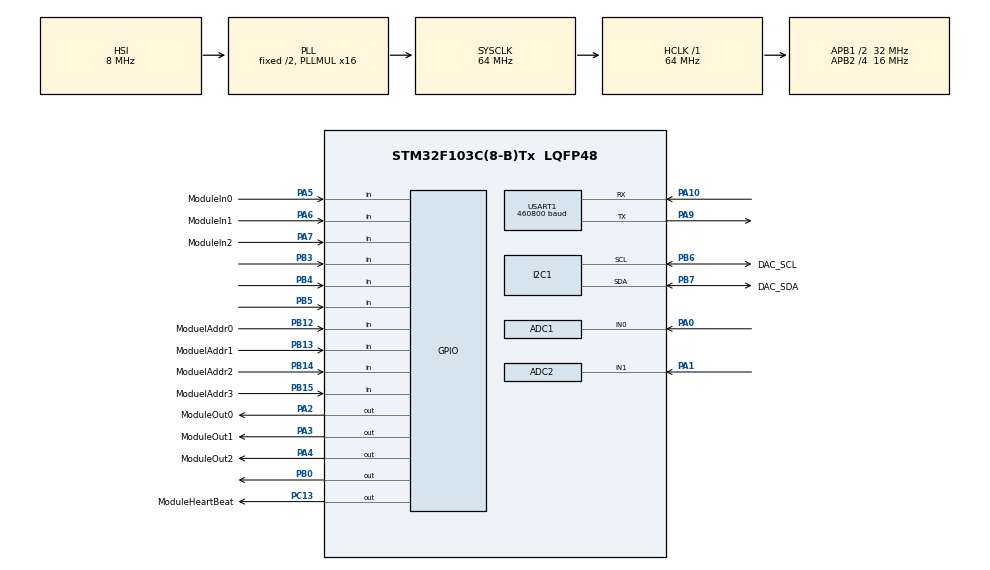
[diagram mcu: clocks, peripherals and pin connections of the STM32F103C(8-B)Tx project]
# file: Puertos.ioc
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ADC1.Channel-0\#ChannelRegularConversion=ADC_CHANNEL_0
ADC1.NbrOfConversionFlag=1
ADC1.Rank-0\#ChannelRegularConversion=1
ADC1.SamplingTime-0\#ChannelRegularConversion=ADC_SAMPLETIME_1CYCLE_5
ADC1.master=1
ADC2.Channel-1\#ChannelRegularConversion=ADC_CHANNEL_1
ADC2.NbrOfConversionFlag=1
ADC2.Rank-1\#ChannelRegularConversion=1
ADC2.SamplingTime-1\#ChannelRegularConversion=ADC_SAMPLETIME_1CYCLE_5
Mcu.Family=STM32F1
Mcu.Name=STM32F103C(8-B)Tx
Mcu.Package=LQFP48
NVIC.I2C1_EV_IRQn=true\:2\:0\:true\:false\:true\:true\:true
NVIC.PriorityGroup=NVIC_PRIORITYGROUP_4
NVIC.TIM3_IRQn=true\:1\:0\:true\:false\:true\:true\:true
NVIC.USART1_IRQn=true\:0\:0\:false\:false\:true\:true\:true
PA0-WKUP.Signal=ADCx_IN0
PA1.Signal=ADCx_IN1
PA10.Mode=Asynchronous
PA10.Signal=USART1_RX
PA13.Mode=Serial_Wire
PA13.Signal=SYS_JTMS-SWDIO
PA14.Mode=Serial_Wire
PA14.Signal=SYS_JTCK-SWCLK
PA2.GPIO_Label=ModuleOut0
PA2.Signal=GPIO_Output
PA3.GPIO_Label=ModuleOut1
PA3.Signal=GPIO_Output
PA4.GPIO_Label=ModuleOut2
PA4.Signal=GPIO_Output
PA5.GPIO_Label=ModuleIn0
PA5.Signal=GPIO_Input
PA6.GPIO_Label=ModuleIn1
PA6.Signal=GPIO_Input
PA7.GPIO_Label=ModuleIn2
PA7.Signal=GPIO_Input
PA9.Mode=Asynchronous
PA9.Signal=USART1_TX
PB0.Signal=GPIO_Output
PB12.GPIO_Label=ModuelAddr0
PB12.Signal=GPIO_Input
PB13.GPIO_Label=ModuelAddr1
PB13.Signal=GPIO_Input
PB14.GPIO_Label=ModuelAddr2
PB14.Signal=GPIO_Input
PB15.GPIO_Label=ModuelAddr3
PB15.Signal=GPIO_Input
PB3.Signal=GPIO_Input
PB4.Signal=GPIO_Input
PB5.Signal=GPIO_Input
PB6.GPIO_Label=DAC_SCL
PB6.Mode=I2C
PB6.Signal=I2C1_SCL
PB7.GPIO_Label=DAC_SDA
PB7.Mode=I2C
PB7.Signal=I2C1_SDA
PC13-TAMPER-RTC.GPIO_Label=ModuleHeartBeat
PC13-TAMPER-RTC.Signal=GPIO_Output
ProjectManager.HeapSize=0x200
ProjectManager.StackSize=0x400
ProjectManager.TargetToolchain=STM32CubeIDE
RCC.AHBFreq_Value=64000000
RCC.APB1CLKDivider=RCC_HCLK_DIV2
RCC.APB1Freq_Value=32000000
RCC.APB1TimFreq_Value=64000000
RCC.APB2CLKDivider=RCC_HCLK_DIV4
RCC.APB2Freq_Value=16000000
RCC.APB2TimFreq_Value=32000000
RCC.HCLKFreq_Value=64000000
RCC.PLLMUL=RCC_PLL_MUL16
RCC.SYSCLKFreq_VALUE=64000000
RCC.SYSCLKSource=RCC_SYSCLKSOURCE_PLLCLK
RCC.USBFreq_Value=64000000
SH.ADCx_IN0.0=ADC1_IN0,IN0
SH.ADCx_IN1.0=ADC2_IN1,IN1
TIM3.AutoReloadPreload=TIM_AUTORELOAD_PRELOAD_ENABLE
TIM3.Period=4000
USART1.BaudRate=460800
USART1.VirtualMode=VM_ASYNC
VP_TIM3_VS_ClockSourceINT.Mode=Internal
board=custom

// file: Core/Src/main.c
/* USER CODE BEGIN Header */
/**
  ******************************************************************************
  * @file           : main.c
  * @brief          : Main program body
  ******************************************************************************
  * @attention
  *
  * <h2><center>&copy; Copyright (c) 2020 STMicroelectronics.
  * All rights reserved.</center></h2>
  *
  * This software component is licensed by ST under BSD 3-Clause license,
  * the "License"; You may not use this file except in compliance with the
  * License. You may obtain a copy of the License at:
  *                        opensource.org/licenses/BSD-3-Clause
  *
  ******************************************************************************
  */
/* USER CODE END Header */

#include "main.h"
#include "adc.h"
#include "i2c.h"
#include "tim.h"
#include "usart.h"
#include "gpio.h"
#include "PuertosData.h"

void SystemClock_Config(void);

int main(void)
{
  /* USER CODE BEGIN 1 */
	uint8_t mcpData [2]; //Datos para la interfaz I2C
	uint32_t heartBeatTimeout = 0;
  /* USER CODE END 1 */

  /* MCU Configuration--------------------------------------------------------*/

  /* Reset of all peripherals, Initializes the Flash interface and the Systick. */
  HAL_Init();

  /* Configure the system clock */
  SystemClock_Config();

  /* Initialize all configured peripherals */
  MX_GPIO_Init();
  MX_ADC1_Init();
  MX_ADC2_Init();
  MX_I2C1_Init();
  MX_TIM3_Init();
  MX_USART1_UART_Init();
  /* USER CODE BEGIN 2 */

  //Leo el address del modulo
  if (HAL_GPIO_ReadPin(GPIOB,GPIO_PIN_12)) //
	moduleAddr = moduleAddr | 0x00000001;
  else
	moduleAddr = moduleAddr & 0xFFFFFFFE;

  if (HAL_GPIO_ReadPin(GPIOB,GPIO_PIN_13))
	moduleAddr = moduleAddr | 0x00000002;
  else
	moduleAddr = moduleAddr & 0xFFFFFFFD;

  if (HAL_GPIO_ReadPin(GPIOB,GPIO_PIN_14))
	moduleAddr = moduleAddr | 0x00000004;
  else
	moduleAddr = moduleAddr & 0xFFFFFFFB;

  heartBeatTimeout= HAL_GetTick() + HEART_BEAT_PERIOD;

  HAL_ADC_Start(&hadc1); // start the adc1
  HAL_ADC_Start(&hadc2); // start the adc2

  HAL_TIM_Base_Start_IT(&htim3);

  //Disparo la recepcion por interrupcion de la UART
  	if(HAL_UART_Receive_IT(&huart1, (uint8_t*) &bufferUARTin[receiveIndex], 1) != HAL_OK)
  	  {
  	    Error_Handler();
  	  }
  /* USER CODE END 2 */

  /* Infinite loop */
  /* USER CODE BEGIN WHILE */
  while (1)
  {
  //En un loop infinito si hay datos para el DAC y las salidas digitales las actualizo
	  if (dataFlag == 1)
	  {
		mcpData [0] = DACData[0];	//Tomo los datos a enviar al dac
		mcpData [1] = DACData[1];
		dataFlag = 0;
		HAL_I2C_Master_Transmit_IT(&hi2c1, mcpAddress, mcpData, (uint16_t) 2); //Los envio al DAC

		//Actualizo el estado de las salidas digitales
		if (outData & 0x01)
			HAL_GPIO_WritePin(GPIOA,GPIO_PIN_2,GPIO_PIN_SET);
		else
			HAL_GPIO_WritePin(GPIOA,GPIO_PIN_2,GPIO_PIN_RESET);
		if (outData & 0x02)
			HAL_GPIO_WritePin(GPIOA,GPIO_PIN_3,GPIO_PIN_SET);
		else
			HAL_GPIO_WritePin(GPIOA,GPIO_PIN_3,GPIO_PIN_RESET);
		if (outData & 0x04)
			HAL_GPIO_WritePin(GPIOA,GPIO_PIN_4,GPIO_PIN_SET);
		else
			HAL_GPIO_WritePin(GPIOA,GPIO_PIN_4,GPIO_PIN_RESET);
		if (outData & 0x08)
			HAL_GPIO_WritePin(GPIOB,GPIO_PIN_0,GPIO_PIN_SET);
		else
			HAL_GPIO_WritePin(GPIOB,GPIO_PIN_0,GPIO_PIN_RESET);
	  }

	  if (HAL_GetTick()>=heartBeatTimeout)	//Cada un segundo hago destella el LED de la placa para indicar que esta vivo y actualizo el addres del puerto.
		  {
		  heartBeatTimeout = heartBeatTimeout+HEART_BEAT_PERIOD;

		  HAL_GPIO_TogglePin(GPIOC,GPIO_PIN_13); //Heartbeat

		  //Lectura de entradas digitales
		  if (HAL_GPIO_ReadPin(GPIOB,GPIO_PIN_12)) //
			moduleAddr = moduleAddr | 0x00000001; //Si pasaro 10 bits en 1 pongo en 1 el primer bit
		  else
			moduleAddr = moduleAddr & 0xFFFFFFFE;	//Si pasaro 10 bits en 0 pongo en 0 el primer bit

		  if (HAL_GPIO_ReadPin(GPIOB,GPIO_PIN_13)) //
			moduleAddr = moduleAddr | 0x00000002; //Si pasaro 10 bits en 1 pongo en 1 el segundo bit
		  else
			moduleAddr = moduleAddr & 0xFFFFFFFD; //Si pasaro 10 bits en 0 pongo en 0 el segundo bit

		  if (HAL_GPIO_ReadPin(GPIOB,GPIO_PIN_14)) //
			moduleAddr = moduleAddr | 0x00000004; //Si pasaro 10 bits en 1 pongo en 1 el tercer bit
		  else
			moduleAddr = moduleAddr & 0xFFFFFFFB; //Si pasaro 10 bits en 0 pongo en 0 el tercer bit
		  }

  }
}

void SystemClock_Config(void)
{
  RCC_OscInitTypeDef RCC_OscInitStruct = {0};
  RCC_ClkInitTypeDef RCC_ClkInitStruct = {0};
  RCC_PeriphCLKInitTypeDef PeriphClkInit = {0};

  /** Initializes the CPU, AHB and APB busses clocks
  */
  RCC_OscInitStruct.OscillatorType = RCC_OSCILLATORTYPE_HSI;
  RCC_OscInitStruct.HSIState = RCC_HSI_ON;
  RCC_OscInitStruct.HSICalibrationValue = RCC_HSICALIBRATION_DEFAULT;
  RCC_OscInitStruct.PLL.PLLState = RCC_PLL_ON;
  RCC_OscInitStruct.PLL.PLLSource = RCC_PLLSOURCE_HSI_DIV2;
  RCC_OscInitStruct.PLL.PLLMUL = RCC_PLL_MUL16;
  if (HAL_RCC_OscConfig(&RCC_OscInitStruct) != HAL_OK)
  {
    Error_Handler();
  }
  /** Initializes the CPU, AHB and APB busses clocks
  */
  RCC_ClkInitStruct.ClockType = RCC_CLOCKTYPE_HCLK|RCC_CLOCKTYPE_SYSCLK
                              |RCC_CLOCKTYPE_PCLK1|RCC_CLOCKTYPE_PCLK2;
  RCC_ClkInitStruct.SYSCLKSource = RCC_SYSCLKSOURCE_PLLCLK;
  RCC_ClkInitStruct.AHBCLKDivider = RCC_SYSCLK_DIV1;
  RCC_ClkInitStruct.APB1CLKDivider = RCC_HCLK_DIV2;
  RCC_ClkInitStruct.APB2CLKDivider = RCC_HCLK_DIV4;

  if (HAL_RCC_ClockConfig(&RCC_ClkInitStruct, FLASH_LATENCY_2) != HAL_OK)
  {
    Error_Handler();
  }
  PeriphClkInit.PeriphClockSelection = RCC_PERIPHCLK_ADC;
  PeriphClkInit.AdcClockSelection = RCC_ADCPCLK2_DIV2;
  if (HAL_RCCEx_PeriphCLKConfig(&PeriphClkInit) != HAL_OK)
  {
    Error_Handler();
  }
}

void Error_Handler(void)
{
}

/************************ (C) COPYRIGHT STMicroelectronics *****END OF FILE****/
